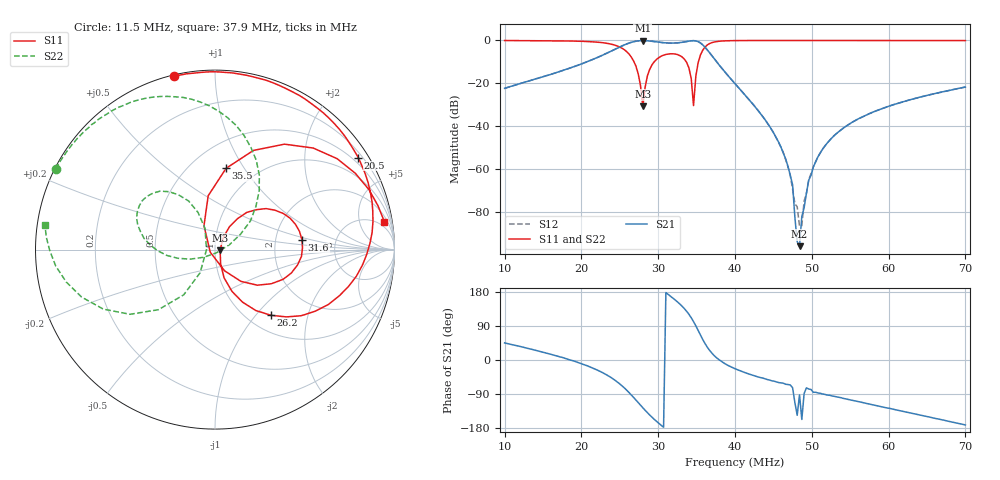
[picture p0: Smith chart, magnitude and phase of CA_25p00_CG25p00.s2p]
#  HZ  S  RI  R  50.00
! Rohde & Schwarz ZVT8 8Ports - Version 4.11 - 1300.0000k08 SN: 100242
! Date: 2026-07-31 14:33:01
! Measurements: S11 S21 S12 S22
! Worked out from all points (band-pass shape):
!   201 points, 10 MHz to 70 MHz, reference 50 ohm
!   highest |S21| = -0.06 dB at 28 MHz (marker M1); lowest = -96.0 dB at 48.4 MHz (marker M2)
!   |S21| within 3 dB of the highest: 24.99 MHz to 36.08 MHz (11.09 MHz wide, 36.3 % of centre)
!   lowest |S11| = -30.8 dB at 28 MHz (marker M3), VSWR 1.06, Z = 52.9 - j0.394 ohm
!   |S11| at or under -10 dB: 26.85 MHz to 29.48 MHz (2.626 MHz wide, 9.32 % of centre); 33.66 MHz to 35.23 MHz (1.576 MHz wide, 4.58 % of centre)
!   |S22| runs from -34.1 to 0.0 dB; largest |S21 - S12| = 0.0027
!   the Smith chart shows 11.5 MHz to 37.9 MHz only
!   S11 on the Smith chart (normalised r, x): 11.5 MHz: 0.01, +0.79; 20.5 MHz: 0.33, +3.38; 26.2 MHz: 1.27, -1.21; 31.6 MHz: 2.84, +0.41; 35.5 MHz: 0.73, +0.83; 37.9 MHz: 3, +11
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1e7  -0.402 0.9115  0.0538 0.054  0.0534 0.0541  -0.9169 0.3897
1.15e7  -0.2288 0.967  0.0726 0.0567  0.0724 0.0567  -0.8866 0.4495
2.02e7  0.7733 0.5553  0.2862 -0.056  0.2853 -0.0558  -0.5152 0.8011
2.05e7  0.7983 0.5131  0.2975 -0.0698  0.2957 -0.0702  -0.4905 0.8117
2.62e7  0.3126 -0.3661  0.0623 -0.8669  0.0638 -0.8651  0.247 0.4146
2.74e7  0.0508 -0.1578  -0.3758 -0.9039  -0.3759 -0.9027  0.1429 0.0864
2.8e7  0.0286 -0.00372  -0.5871 -0.8004  -0.5851 -0.8017  0.00753 -0.0182
2.86e7  0.0806 0.1274  -0.7433 -0.6421  -0.7432 -0.6405  -0.1375 -0.0531
3.01e7  0.3329 0.22  -0.8898 -0.1982  -0.8879 -0.199  -0.3954 0.0627
3.16e7  0.4844 0.0553  -0.8491 0.1743  -0.8499 0.1743  -0.4218 0.2439
3.37e7  0.236 -0.1983  -0.5884 0.7371  -0.5891 0.7367  -0.1466 0.2707
3.46e7  -0.0266 -0.0142  -0.1948 0.9697  -0.195 0.968  -0.0473 0.000111
3.55e7  0.0617 0.4528  0.3576 0.7974  0.3569 0.7973  -0.3155 -0.3349
3.79e7  0.9438 0.1547  0.2721 0.00493  0.2727 0.00471  -0.9472 0.1398
4e7  0.9337 -0.3334  0.0902 -0.0384  0.0902 -0.0384  -0.8818 0.4559
4.57e7  0.3568 -0.9317  0.00211 -0.0036  0.00201 -0.00359  -0.6163 0.7843
4.75e7  0.1364 -0.9889  0.000122 -0.000411  0.000125 -0.000316  -0.5395 0.8392
4.78e7  0.1 -0.9929  -2.83e-05 -6.81e-05  5.36e-05 -0.000145  -0.5258 0.8463
4.84e7  0.0258 -0.9982  -5.38e-07 -1.58e-05  1.37e-05 4.44e-05  -0.5016 0.8618
5.02e7  -0.1894 -0.9804  9.28e-05 -0.00111  0.000121 -0.00112  -0.428 0.9008
6.01e7  -0.968 -0.2335  -0.018 -0.0234  -0.0179 -0.0233  -0.0274 0.9962
7e7  -0.6229 0.7734  -0.081 -0.0122  -0.0808 -0.012  0.3648 0.9246
